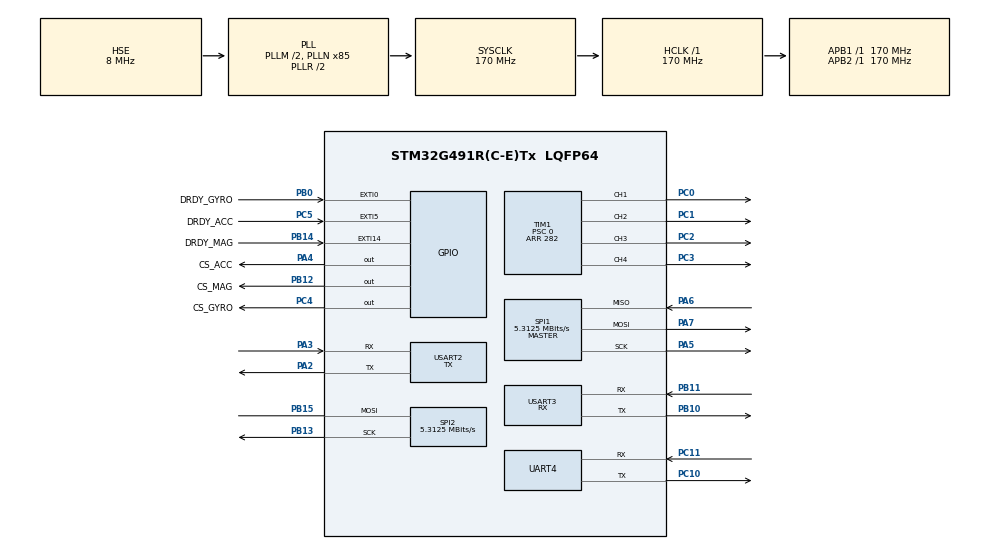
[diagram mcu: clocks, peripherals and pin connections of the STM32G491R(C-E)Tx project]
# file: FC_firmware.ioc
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Dma.Request0=TIM1_CH1
Dma.Request1=TIM1_CH2
Dma.Request2=TIM1_CH3
Dma.Request3=TIM1_CH4
Dma.Request4=SPI1_RX
Dma.Request5=SPI1_TX
Dma.Request6=USART2_TX
Dma.SPI1_RX.4.Direction=DMA_PERIPH_TO_MEMORY
Dma.SPI1_RX.4.EventEnable=DISABLE
Dma.SPI1_RX.4.Instance=DMA1_Channel5
Dma.SPI1_RX.4.MemDataAlignment=DMA_MDATAALIGN_BYTE
Dma.SPI1_RX.4.MemInc=DMA_MINC_ENABLE
Dma.SPI1_RX.4.Mode=DMA_NORMAL
Dma.SPI1_RX.4.PeriphDataAlignment=DMA_PDATAALIGN_BYTE
Dma.SPI1_RX.4.PeriphInc=DMA_PINC_DISABLE
Dma.SPI1_RX.4.Polarity=HAL_DMAMUX_REQ_GEN_RISING
Dma.SPI1_RX.4.Priority=DMA_PRIORITY_MEDIUM
Dma.SPI1_RX.4.RequestNumber=1
Dma.SPI1_RX.4.SignalID=NONE
Dma.SPI1_RX.4.SyncEnable=DISABLE
Dma.SPI1_RX.4.SyncPolarity=HAL_DMAMUX_SYNC_NO_EVENT
Dma.SPI1_RX.4.SyncRequestNumber=1
Dma.SPI1_RX.4.SyncSignalID=NONE
Dma.SPI1_TX.5.Direction=DMA_MEMORY_TO_PERIPH
Dma.SPI1_TX.5.EventEnable=DISABLE
Dma.SPI1_TX.5.Instance=DMA1_Channel6
Dma.SPI1_TX.5.MemDataAlignment=DMA_MDATAALIGN_BYTE
Dma.SPI1_TX.5.MemInc=DMA_MINC_ENABLE
Dma.SPI1_TX.5.Mode=DMA_NORMAL
Dma.SPI1_TX.5.PeriphDataAlignment=DMA_PDATAALIGN_BYTE
Dma.SPI1_TX.5.PeriphInc=DMA_PINC_DISABLE
Dma.SPI1_TX.5.Polarity=HAL_DMAMUX_REQ_GEN_RISING
Dma.SPI1_TX.5.Priority=DMA_PRIORITY_MEDIUM
Dma.SPI1_TX.5.RequestNumber=1
Dma.SPI1_TX.5.SignalID=NONE
Dma.SPI1_TX.5.SyncEnable=DISABLE
Dma.SPI1_TX.5.SyncPolarity=HAL_DMAMUX_SYNC_NO_EVENT
Dma.SPI1_TX.5.SyncRequestNumber=1
Dma.SPI1_TX.5.SyncSignalID=NONE
Dma.TIM1_CH1.0.Direction=DMA_MEMORY_TO_PERIPH
Dma.TIM1_CH1.0.EventEnable=DISABLE
Dma.TIM1_CH1.0.Instance=DMA1_Channel1
Dma.TIM1_CH1.0.MemDataAlignment=DMA_MDATAALIGN_HALFWORD
Dma.TIM1_CH1.0.MemInc=DMA_MINC_ENABLE
Dma.TIM1_CH1.0.Mode=DMA_CIRCULAR
Dma.TIM1_CH1.0.PeriphDataAlignment=DMA_PDATAALIGN_HALFWORD
Dma.TIM1_CH1.0.PeriphInc=DMA_PINC_DISABLE
Dma.TIM1_CH1.0.Polarity=HAL_DMAMUX_REQ_GEN_RISING
Dma.TIM1_CH1.0.Priority=DMA_PRIORITY_HIGH
Dma.TIM1_CH1.0.RequestNumber=1
Dma.TIM1_CH1.0.SignalID=NONE
Dma.TIM1_CH1.0.SyncEnable=DISABLE
Dma.TIM1_CH1.0.SyncPolarity=HAL_DMAMUX_SYNC_NO_EVENT
Dma.TIM1_CH1.0.SyncRequestNumber=1
Dma.TIM1_CH1.0.SyncSignalID=NONE
Dma.TIM1_CH2.1.Direction=DMA_MEMORY_TO_PERIPH
Dma.TIM1_CH2.1.EventEnable=DISABLE
Dma.TIM1_CH2.1.Instance=DMA1_Channel2
Dma.TIM1_CH2.1.MemDataAlignment=DMA_MDATAALIGN_HALFWORD
Dma.TIM1_CH2.1.MemInc=DMA_MINC_ENABLE
Dma.TIM1_CH2.1.Mode=DMA_CIRCULAR
Dma.TIM1_CH2.1.PeriphDataAlignment=DMA_PDATAALIGN_HALFWORD
Dma.TIM1_CH2.1.PeriphInc=DMA_PINC_DISABLE
Dma.TIM1_CH2.1.Polarity=HAL_DMAMUX_REQ_GEN_RISING
Dma.TIM1_CH2.1.Priority=DMA_PRIORITY_HIGH
Dma.TIM1_CH2.1.RequestNumber=1
Dma.TIM1_CH2.1.SignalID=NONE
Dma.TIM1_CH2.1.SyncEnable=DISABLE
Dma.TIM1_CH2.1.SyncPolarity=HAL_DMAMUX_SYNC_NO_EVENT
Dma.TIM1_CH2.1.SyncRequestNumber=1
Dma.TIM1_CH2.1.SyncSignalID=NONE
Dma.TIM1_CH3.2.Direction=DMA_MEMORY_TO_PERIPH
Dma.TIM1_CH3.2.EventEnable=DISABLE
Dma.TIM1_CH3.2.Instance=DMA1_Channel3
Dma.TIM1_CH3.2.MemDataAlignment=DMA_MDATAALIGN_HALFWORD
Dma.TIM1_CH3.2.MemInc=DMA_MINC_ENABLE
Dma.TIM1_CH3.2.Mode=DMA_CIRCULAR
Dma.TIM1_CH3.2.PeriphDataAlignment=DMA_PDATAALIGN_HALFWORD
Dma.TIM1_CH3.2.PeriphInc=DMA_PINC_DISABLE
Dma.TIM1_CH3.2.Polarity=HAL_DMAMUX_REQ_GEN_RISING
Dma.TIM1_CH3.2.Priority=DMA_PRIORITY_HIGH
Dma.TIM1_CH3.2.RequestNumber=1
Dma.TIM1_CH3.2.SignalID=NONE
Dma.TIM1_CH3.2.SyncEnable=DISABLE
Dma.TIM1_CH3.2.SyncPolarity=HAL_DMAMUX_SYNC_NO_EVENT
Dma.TIM1_CH3.2.SyncRequestNumber=1
Dma.TIM1_CH3.2.SyncSignalID=NONE
Dma.TIM1_CH4.3.Direction=DMA_MEMORY_TO_PERIPH
Dma.TIM1_CH4.3.EventEnable=DISABLE
Dma.TIM1_CH4.3.Instance=DMA1_Channel4
Dma.TIM1_CH4.3.MemDataAlignment=DMA_MDATAALIGN_HALFWORD
Dma.TIM1_CH4.3.MemInc=DMA_MINC_ENABLE
Dma.TIM1_CH4.3.Mode=DMA_CIRCULAR
Dma.TIM1_CH4.3.PeriphDataAlignment=DMA_PDATAALIGN_HALFWORD
Dma.TIM1_CH4.3.PeriphInc=DMA_PINC_DISABLE
Dma.TIM1_CH4.3.Polarity=HAL_DMAMUX_REQ_GEN_RISING
Dma.TIM1_CH4.3.Priority=DMA_PRIORITY_HIGH
Dma.TIM1_CH4.3.RequestNumber=1
Dma.TIM1_CH4.3.SignalID=NONE
Dma.TIM1_CH4.3.SyncEnable=DISABLE
Dma.TIM1_CH4.3.SyncPolarity=HAL_DMAMUX_SYNC_NO_EVENT
Dma.TIM1_CH4.3.SyncRequestNumber=1
Dma.TIM1_CH4.3.SyncSignalID=NONE
Dma.USART2_TX.6.Direction=DMA_MEMORY_TO_PERIPH
Dma.USART2_TX.6.EventEnable=DISABLE
Dma.USART2_TX.6.Instance=DMA1_Channel7
Dma.USART2_TX.6.MemDataAlignment=DMA_MDATAALIGN_BYTE
Dma.USART2_TX.6.MemInc=DMA_MINC_ENABLE
Dma.USART2_TX.6.Mode=DMA_NORMAL
Dma.USART2_TX.6.PeriphDataAlignment=DMA_PDATAALIGN_BYTE
Dma.USART2_TX.6.PeriphInc=DMA_PINC_DISABLE
Dma.USART2_TX.6.Polarity=HAL_DMAMUX_REQ_GEN_RISING
Dma.USART2_TX.6.Priority=DMA_PRIORITY_LOW
Dma.USART2_TX.6.RequestNumber=1
Dma.USART2_TX.6.SignalID=NONE
Dma.USART2_TX.6.SyncEnable=DISABLE
Dma.USART2_TX.6.SyncPolarity=HAL_DMAMUX_SYNC_NO_EVENT
Dma.USART2_TX.6.SyncRequestNumber=1
Dma.USART2_TX.6.SyncSignalID=NONE
FREERTOS.INCLUDE_vTaskDelayUntil=1
FREERTOS.INCLUDE_xTimerPendFunctionCall=0
FREERTOS.Tasks01=initTask,2,256,StartInitTask,Default,NULL,Dynamic,NULL,NULL
FREERTOS.configENABLE_FPU=1
FREERTOS.configMAX_TASK_NAME_LEN=32
FREERTOS.configTIMER_TASK_PRIORITY=6
FREERTOS.configTOTAL_HEAP_SIZE=51200
FREERTOS.configUSE_COUNTING_SEMAPHORES=1
FREERTOS.configUSE_NEWLIB_REENTRANT=1
FREERTOS.configUSE_TIMERS=0
IWDG.Reload=3999
IWDG.Window=3999
Mcu.Family=STM32G4
Mcu.Name=STM32G491R(C-E)Tx
Mcu.Package=LQFP64
NVIC.DMA1_Channel1_IRQn=true\:5\:0\:false\:false\:true\:true\:false\:true\:true
NVIC.DMA1_Channel2_IRQn=true\:5\:0\:false\:false\:true\:true\:false\:true\:true
NVIC.DMA1_Channel3_IRQn=true\:5\:0\:false\:false\:true\:true\:false\:true\:true
NVIC.DMA1_Channel4_IRQn=true\:5\:0\:false\:false\:true\:true\:false\:true\:true
NVIC.DMA1_Channel5_IRQn=true\:5\:0\:true\:false\:true\:true\:false\:true\:true
NVIC.DMA1_Channel6_IRQn=true\:5\:0\:true\:false\:true\:true\:false\:true\:true
NVIC.DMA1_Channel7_IRQn=true\:5\:0\:false\:false\:true\:true\:false\:true\:true
NVIC.EXTI0_IRQn=true\:5\:0\:true\:false\:true\:true\:true\:true\:true
NVIC.EXTI15_10_IRQn=true\:5\:0\:false\:false\:true\:true\:true\:true\:true
NVIC.EXTI9_5_IRQn=true\:5\:0\:true\:false\:true\:true\:true\:true\:true
NVIC.PriorityGroup=NVIC_PRIORITYGROUP_4
NVIC.SPI2_IRQn=true\:5\:0\:false\:false\:true\:true\:true\:true\:true
NVIC.TIM6_DAC_IRQn=true\:15\:0\:false\:false\:true\:false\:false\:true\:true
NVIC.TimeBase=TIM6_DAC_IRQn
NVIC.TimeBaseIP=TIM6
NVIC.USART2_IRQn=true\:5\:0\:false\:false\:true\:true\:true\:true\:true
NVIC.USART3_IRQn=true\:5\:0\:true\:false\:true\:true\:true\:true\:true
PA13.Mode=Serial_Wire
PA13.Signal=SYS_JTMS-SWDIO
PA14.Mode=Serial_Wire
PA14.Signal=SYS_JTCK-SWCLK
PA2.Mode=Asynchronous
PA2.Signal=USART2_TX
PA3.Mode=Asynchronous
PA3.Signal=USART2_RX
PA4.GPIO_Label=CS_ACC
PA4.GPIO_Speed=GPIO_SPEED_FREQ_HIGH
PA4.PinState=GPIO_PIN_SET
PA4.Signal=GPIO_Output
PA5.Mode=Full_Duplex_Master
PA5.Signal=SPI1_SCK
PA6.Mode=Full_Duplex_Master
PA6.Signal=SPI1_MISO
PA7.Mode=Full_Duplex_Master
PA7.Signal=SPI1_MOSI
PB0.GPIO_Label=DRDY_GYRO
PB0.Signal=GPXTI0
PB10.Mode=Asynchronous
PB10.Signal=USART3_TX
PB11.Mode=Asynchronous
PB11.Signal=USART3_RX
PB12.GPIO_Label=CS_MAG
PB12.GPIO_Speed=GPIO_SPEED_FREQ_HIGH
PB12.PinState=GPIO_PIN_SET
PB12.Signal=GPIO_Output
PB13.Mode=Simplex_Bidirectional_Master
PB13.Signal=SPI2_SCK
PB14.GPIO_Label=DRDY_MAG
PB14.Signal=GPXTI14
PB15.Mode=Simplex_Bidirectional_Master
PB15.Signal=SPI2_MOSI
PC0.Signal=S_TIM1_CH1
PC1.Signal=S_TIM1_CH2
PC10.Mode=Asynchronous
PC10.Signal=UART4_TX
PC11.Mode=Asynchronous
PC11.Signal=UART4_RX
PC2.Signal=S_TIM1_CH3
PC3.Signal=S_TIM1_CH4
PC4.GPIO_Label=CS_GYRO
PC4.GPIO_Speed=GPIO_SPEED_FREQ_HIGH
PC4.PinState=GPIO_PIN_SET
PC4.Signal=GPIO_Output
PC5.GPIO_Label=DRDY_ACC
PC5.Signal=GPXTI5
PF0-OSC_IN.Mode=HSE-External-Oscillator
PF0-OSC_IN.Signal=RCC_OSC_IN
PF1-OSC_OUT.Mode=HSE-External-Oscillator
PF1-OSC_OUT.Signal=RCC_OSC_OUT
ProjectManager.HeapSize=0x200
ProjectManager.StackSize=0x400
ProjectManager.TargetToolchain=STM32CubeIDE
RCC.ADC12Freq_Value=170000000
RCC.ADC345Freq_Value=170000000
RCC.AHBFreq_Value=170000000
RCC.APB1Freq_Value=170000000
RCC.APB1TimFreq_Value=170000000
RCC.APB2Freq_Value=170000000
RCC.APB2TimFreq_Value=170000000
RCC.CortexFreq_Value=170000000
RCC.EXTERNAL_CLOCK_VALUE=12288000
RCC.HCLKFreq_Value=170000000
RCC.HSE_VALUE=8000000
RCC.HSI48_VALUE=48000000
RCC.HSI_VALUE=16000000
RCC.LSE_VALUE=32768
RCC.PLLM=RCC_PLLM_DIV2
RCC.PLLN=85
RCC.PLLSourceVirtual=RCC_PLLSOURCE_HSE
RCC.SYSCLKFreq_VALUE=170000000
RCC.SYSCLKSource=RCC_SYSCLKSOURCE_PLLCLK
RCC.USBFreq_Value=48000000
RCC.VCOOutputFreq_Value=340000000
SH.S_TIM1_CH1.0=TIM1_CH1,PWM Generation1 CH1
SH.S_TIM1_CH2.0=TIM1_CH2,PWM Generation2 CH2
SH.S_TIM1_CH3.0=TIM1_CH3,PWM Generation3 CH3
SH.S_TIM1_CH4.0=TIM1_CH4,PWM Generation4 CH4
SPI1.BaudRatePrescaler=SPI_BAUDRATEPRESCALER_32
SPI1.CalculateBaudRate=5.3125 MBits/s
SPI1.Direction=SPI_DIRECTION_2LINES
SPI1.Mode=SPI_MODE_MASTER
SPI1.NSSPMode=SPI_NSS_PULSE_DISABLE
SPI1.VirtualType=VM_MASTER
SPI2.BaudRatePrescaler=SPI_BAUDRATEPRESCALER_32
SPI2.CLKPhase=SPI_PHASE_2EDGE
SPI2.CLKPolarity=SPI_POLARITY_HIGH
SPI2.CalculateBaudRate=5.3125 MBits/s
SPI2.Direction=SPI_DIRECTION_1LINE
SPI2.Mode=SPI_MODE_MASTER
SPI2.VirtualType=VM_MASTER
TIM1.AutoReloadPreload=TIM_AUTORELOAD_PRELOAD_ENABLE
TIM1.Channel-PWM\ Generation1\ CH1=TIM_CHANNEL_1
TIM1.Channel-PWM\ Generation2\ CH2=TIM_CHANNEL_2
TIM1.Channel-PWM\ Generation3\ CH3=TIM_CHANNEL_3
TIM1.Channel-PWM\ Generation4\ CH4=TIM_CHANNEL_4
TIM1.PeriodNoDither=282
TIM1.Prescaler=0
TIM2.Prescaler=169
USART2.Mode=MODE_TX
USART2.StopBits=STOPBITS_1
USART2.VirtualMode-Asynchronous=VM_ASYNC
USART3.Mode=MODE_RX
USART3.VirtualMode-Asynchronous=VM_ASYNC
VP_FREERTOS_VS_CMSIS_V1.Mode=CMSIS_V1
VP_IWDG_VS_IWDG.Mode=IWDG_Activate
VP_SYS_VS_DBSignals.Mode=DisableDeadBatterySignals
VP_SYS_VS_tim6.Mode=TIM6
VP_TIM1_VS_ClockSourceINT.Mode=Internal
VP_TIM2_VS_ClockSourceINT.Mode=Internal
board=custom

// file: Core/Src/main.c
/* USER CODE BEGIN Header */
/**
  ******************************************************************************
  * @file           : main.c
  * @brief          : Main program body
  ******************************************************************************
  * @attention
  *
  * Copyright (c) 2022 STMicroelectronics.
  * All rights reserved.
  *
  * This software is licensed under terms that can be found in the LICENSE file
  * in the root directory of this software component.
  * If no LICENSE file comes with this software, it is provided AS-IS.
  *
  ******************************************************************************
  */
/* USER CODE END Header */
#include "main.h"
#include "cmsis_os.h"

/* USER CODE BEGIN Includes */
#include "bsp.h"
/* USER CODE END Includes */

 IWDG_HandleTypeDef hiwdg;

SPI_HandleTypeDef hspi1;
SPI_HandleTypeDef hspi2;
DMA_HandleTypeDef hdma_spi1_rx;
DMA_HandleTypeDef hdma_spi1_tx;

TIM_HandleTypeDef htim1;
TIM_HandleTypeDef htim2;
DMA_HandleTypeDef hdma_tim1_ch1;
DMA_HandleTypeDef hdma_tim1_ch2;
DMA_HandleTypeDef hdma_tim1_ch3;
DMA_HandleTypeDef hdma_tim1_ch4;

UART_HandleTypeDef huart4;
UART_HandleTypeDef huart2;
UART_HandleTypeDef huart3;
DMA_HandleTypeDef hdma_usart2_tx;

osThreadId initTaskHandle;

void SystemClock_Config(void);
static void MX_GPIO_Init(void);
static void MX_DMA_Init(void);
static void MX_UART4_Init(void);
static void MX_TIM1_Init(void);
static void MX_USART3_UART_Init(void);
static void MX_SPI1_Init(void);
static void MX_TIM2_Init(void);
static void MX_SPI2_Init(void);
static void MX_USART2_UART_Init(void);
static void MX_IWDG_Init(void);
void StartInitTask(void const * argument);

/* USER CODE BEGIN PFP */
void mainDisableInterrupts();
/* USER CODE END PFP */

int main(void)
{

  /* MCU Configuration--------------------------------------------------------*/

  /* Reset of all peripherals, Initializes the Flash interface and the Systick. */
  HAL_Init();

  /* Configure the system clock */
  SystemClock_Config();

  /* Initialize all configured peripherals */
  MX_GPIO_Init();
  MX_DMA_Init();
  MX_UART4_Init();
  MX_TIM1_Init();
  MX_USART3_UART_Init();
  MX_SPI1_Init();
  MX_TIM2_Init();
  MX_SPI2_Init();
  MX_USART2_UART_Init();
  MX_IWDG_Init();

  /* Create the thread(s) */
  /* definition and creation of initTask */
  osThreadDef(initTask, StartInitTask, osPriorityHigh, 0, 256);
  initTaskHandle = osThreadCreate(osThread(initTask), NULL);

  /* Start scheduler */
  osKernelStart();

  /* We should never get here as control is now taken by the scheduler */
  /* Infinite loop */
  while (1)
  {

  }
}

void SystemClock_Config(void)
{
  RCC_OscInitTypeDef RCC_OscInitStruct = {0};
  RCC_ClkInitTypeDef RCC_ClkInitStruct = {0};

  /** Configure the main internal regulator output voltage
  */
  HAL_PWREx_ControlVoltageScaling(PWR_REGULATOR_VOLTAGE_SCALE1_BOOST);

  /** Initializes the RCC Oscillators according to the specified parameters
  * in the RCC_OscInitTypeDef structure.
  */
  RCC_OscInitStruct.OscillatorType = RCC_OSCILLATORTYPE_LSI|RCC_OSCILLATORTYPE_HSE;
  RCC_OscInitStruct.HSEState = RCC_HSE_ON;
  RCC_OscInitStruct.LSIState = RCC_LSI_ON;
  RCC_OscInitStruct.PLL.PLLState = RCC_PLL_ON;
  RCC_OscInitStruct.PLL.PLLSource = RCC_PLLSOURCE_HSE;
  RCC_OscInitStruct.PLL.PLLM = RCC_PLLM_DIV2;
  RCC_OscInitStruct.PLL.PLLN = 85;
  RCC_OscInitStruct.PLL.PLLP = RCC_PLLP_DIV2;
  RCC_OscInitStruct.PLL.PLLQ = RCC_PLLQ_DIV2;
  RCC_OscInitStruct.PLL.PLLR = RCC_PLLR_DIV2;
  if (HAL_RCC_OscConfig(&RCC_OscInitStruct) != HAL_OK)
  {
    Error_Handler();
  }

  /** Initializes the CPU, AHB and APB buses clocks
  */
  RCC_ClkInitStruct.ClockType = RCC_CLOCKTYPE_HCLK|RCC_CLOCKTYPE_SYSCLK
                              |RCC_CLOCKTYPE_PCLK1|RCC_CLOCKTYPE_PCLK2;
  RCC_ClkInitStruct.SYSCLKSource = RCC_SYSCLKSOURCE_PLLCLK;
  RCC_ClkInitStruct.AHBCLKDivider = RCC_SYSCLK_DIV1;
  RCC_ClkInitStruct.APB1CLKDivider = RCC_HCLK_DIV1;
  RCC_ClkInitStruct.APB2CLKDivider = RCC_HCLK_DIV1;

  if (HAL_RCC_ClockConfig(&RCC_ClkInitStruct, FLASH_LATENCY_4) != HAL_OK)
  {
    Error_Handler();
  }
}

static void MX_IWDG_Init(void)
{

  hiwdg.Instance = IWDG;
  hiwdg.Init.Prescaler = IWDG_PRESCALER_4;
  hiwdg.Init.Window = 3999;
  hiwdg.Init.Reload = 3999;
  if (HAL_IWDG_Init(&hiwdg) != HAL_OK)
  {
    Error_Handler();
  }

}

static void MX_SPI1_Init(void)
{

  /* SPI1 parameter configuration*/
  hspi1.Instance = SPI1;
  hspi1.Init.Mode = SPI_MODE_MASTER;
  hspi1.Init.Direction = SPI_DIRECTION_2LINES;
  hspi1.Init.DataSize = SPI_DATASIZE_8BIT;
  hspi1.Init.CLKPolarity = SPI_POLARITY_LOW;
  hspi1.Init.CLKPhase = SPI_PHASE_1EDGE;
  hspi1.Init.NSS = SPI_NSS_SOFT;
  hspi1.Init.BaudRatePrescaler = SPI_BAUDRATEPRESCALER_32;
  hspi1.Init.FirstBit = SPI_FIRSTBIT_MSB;
  hspi1.Init.TIMode = SPI_TIMODE_DISABLE;
  hspi1.Init.CRCCalculation = SPI_CRCCALCULATION_DISABLE;
  hspi1.Init.CRCPolynomial = 7;
  hspi1.Init.CRCLength = SPI_CRC_LENGTH_DATASIZE;
  hspi1.Init.NSSPMode = SPI_NSS_PULSE_DISABLE;
  if (HAL_SPI_Init(&hspi1) != HAL_OK)
  {
    Error_Handler();
  }

}

static void MX_SPI2_Init(void)
{

  /* SPI2 parameter configuration*/
  hspi2.Instance = SPI2;
  hspi2.Init.Mode = SPI_MODE_MASTER;
  hspi2.Init.Direction = SPI_DIRECTION_1LINE;
  hspi2.Init.DataSize = SPI_DATASIZE_8BIT;
  hspi2.Init.CLKPolarity = SPI_POLARITY_HIGH;
  hspi2.Init.CLKPhase = SPI_PHASE_2EDGE;
  hspi2.Init.NSS = SPI_NSS_SOFT;
  hspi2.Init.BaudRatePrescaler = SPI_BAUDRATEPRESCALER_32;
  hspi2.Init.FirstBit = SPI_FIRSTBIT_MSB;
  hspi2.Init.TIMode = SPI_TIMODE_DISABLE;
  hspi2.Init.CRCCalculation = SPI_CRCCALCULATION_DISABLE;
  hspi2.Init.CRCPolynomial = 7;
  hspi2.Init.CRCLength = SPI_CRC_LENGTH_DATASIZE;
  hspi2.Init.NSSPMode = SPI_NSS_PULSE_DISABLE;
  if (HAL_SPI_Init(&hspi2) != HAL_OK)
  {
    Error_Handler();
  }

}

static void MX_TIM1_Init(void)
{

  TIM_ClockConfigTypeDef sClockSourceConfig = {0};
  TIM_MasterConfigTypeDef sMasterConfig = {0};
  TIM_OC_InitTypeDef sConfigOC = {0};
  TIM_BreakDeadTimeConfigTypeDef sBreakDeadTimeConfig = {0};

  htim1.Instance = TIM1;
  htim1.Init.Prescaler = 0;
  htim1.Init.CounterMode = TIM_COUNTERMODE_UP;
  htim1.Init.Period = 282;
  htim1.Init.ClockDivision = TIM_CLOCKDIVISION_DIV1;
  htim1.Init.RepetitionCounter = 0;
  htim1.Init.AutoReloadPreload = TIM_AUTORELOAD_PRELOAD_ENABLE;
  if (HAL_TIM_Base_Init(&htim1) != HAL_OK)
  {
    Error_Handler();
  }
  sClockSourceConfig.ClockSource = TIM_CLOCKSOURCE_INTERNAL;
  if (HAL_TIM_ConfigClockSource(&htim1, &sClockSourceConfig) != HAL_OK)
  {
    Error_Handler();
  }
  if (HAL_TIM_PWM_Init(&htim1) != HAL_OK)
  {
    Error_Handler();
  }
  sMasterConfig.MasterOutputTrigger = TIM_TRGO_RESET;
  sMasterConfig.MasterOutputTrigger2 = TIM_TRGO2_RESET;
  sMasterConfig.MasterSlaveMode = TIM_MASTERSLAVEMODE_DISABLE;
  if (HAL_TIMEx_MasterConfigSynchronization(&htim1, &sMasterConfig) != HAL_OK)
  {
    Error_Handler();
  }
  sConfigOC.OCMode = TIM_OCMODE_PWM1;
  sConfigOC.Pulse = 0;
  sConfigOC.OCPolarity = TIM_OCPOLARITY_HIGH;
  sConfigOC.OCNPolarity = TIM_OCNPOLARITY_HIGH;
  sConfigOC.OCFastMode = TIM_OCFAST_DISABLE;
  sConfigOC.OCIdleState = TIM_OCIDLESTATE_RESET;
  sConfigOC.OCNIdleState = TIM_OCNIDLESTATE_RESET;
  if (HAL_TIM_PWM_ConfigChannel(&htim1, &sConfigOC, TIM_CHANNEL_1) != HAL_OK)
  {
    Error_Handler();
  }
  if (HAL_TIM_PWM_ConfigChannel(&htim1, &sConfigOC, TIM_CHANNEL_2) != HAL_OK)
  {
    Error_Handler();
  }
  if (HAL_TIM_PWM_ConfigChannel(&htim1, &sConfigOC, TIM_CHANNEL_3) != HAL_OK)
  {
    Error_Handler();
  }
  if (HAL_TIM_PWM_ConfigChannel(&htim1, &sConfigOC, TIM_CHANNEL_4) != HAL_OK)
  {
    Error_Handler();
  }
  sBreakDeadTimeConfig.OffStateRunMode = TIM_OSSR_DISABLE;
  sBreakDeadTimeConfig.OffStateIDLEMode = TIM_OSSI_DISABLE;
  sBreakDeadTimeConfig.LockLevel = TIM_LOCKLEVEL_OFF;
  sBreakDeadTimeConfig.DeadTime = 0;
  sBreakDeadTimeConfig.BreakState = TIM_BREAK_DISABLE;
  sBreakDeadTimeConfig.BreakPolarity = TIM_BREAKPOLARITY_HIGH;
  sBreakDeadTimeConfig.BreakFilter = 0;
  sBreakDeadTimeConfig.BreakAFMode = TIM_BREAK_AFMODE_INPUT;
  sBreakDeadTimeConfig.Break2State = TIM_BREAK2_DISABLE;
  sBreakDeadTimeConfig.Break2Polarity = TIM_BREAK2POLARITY_HIGH;
  sBreakDeadTimeConfig.Break2Filter = 0;
  sBreakDeadTimeConfig.Break2AFMode = TIM_BREAK_AFMODE_INPUT;
  sBreakDeadTimeConfig.AutomaticOutput = TIM_AUTOMATICOUTPUT_DISABLE;
  if (HAL_TIMEx_ConfigBreakDeadTime(&htim1, &sBreakDeadTimeConfig) != HAL_OK)
  {
    Error_Handler();
  }
  HAL_TIM_MspPostInit(&htim1);

}

static void MX_TIM2_Init(void)
{

  TIM_ClockConfigTypeDef sClockSourceConfig = {0};
  TIM_MasterConfigTypeDef sMasterConfig = {0};

  htim2.Instance = TIM2;
  htim2.Init.Prescaler = 169;
  htim2.Init.CounterMode = TIM_COUNTERMODE_UP;
  htim2.Init.Period = 4.294967295E9;
  htim2.Init.ClockDivision = TIM_CLOCKDIVISION_DIV1;
  htim2.Init.AutoReloadPreload = TIM_AUTORELOAD_PRELOAD_DISABLE;
  if (HAL_TIM_Base_Init(&htim2) != HAL_OK)
  {
    Error_Handler();
  }
  sClockSourceConfig.ClockSource = TIM_CLOCKSOURCE_INTERNAL;
  if (HAL_TIM_ConfigClockSource(&htim2, &sClockSourceConfig) != HAL_OK)
  {
    Error_Handler();
  }
  sMasterConfig.MasterOutputTrigger = TIM_TRGO_RESET;
  sMasterConfig.MasterSlaveMode = TIM_MASTERSLAVEMODE_DISABLE;
  if (HAL_TIMEx_MasterConfigSynchronization(&htim2, &sMasterConfig) != HAL_OK)
  {
    Error_Handler();
  }

}

static void MX_UART4_Init(void)
{

  huart4.Instance = UART4;
  huart4.Init.BaudRate = 115200;
  huart4.Init.WordLength = UART_WORDLENGTH_8B;
  huart4.Init.StopBits = UART_STOPBITS_1;
  huart4.Init.Parity = UART_PARITY_NONE;
  huart4.Init.Mode = UART_MODE_TX_RX;
  huart4.Init.HwFlowCtl = UART_HWCONTROL_NONE;
  huart4.Init.OverSampling = UART_OVERSAMPLING_16;
  huart4.Init.OneBitSampling = UART_ONE_BIT_SAMPLE_DISABLE;
  huart4.Init.ClockPrescaler = UART_PRESCALER_DIV1;
  huart4.AdvancedInit.AdvFeatureInit = UART_ADVFEATURE_NO_INIT;
  if (HAL_UART_Init(&huart4) != HAL_OK)
  {
    Error_Handler();
  }
  if (HAL_UARTEx_SetTxFifoThreshold(&huart4, UART_TXFIFO_THRESHOLD_1_8) != HAL_OK)
  {
    Error_Handler();
  }
  if (HAL_UARTEx_SetRxFifoThreshold(&huart4, UART_RXFIFO_THRESHOLD_1_8) != HAL_OK)
  {
    Error_Handler();
  }
  if (HAL_UARTEx_DisableFifoMode(&huart4) != HAL_OK)
  {
    Error_Handler();
  }

}

static void MX_USART2_UART_Init(void)
{

  huart2.Instance = USART2;
  huart2.Init.BaudRate = 115200;
  huart2.Init.WordLength = UART_WORDLENGTH_8B;
  huart2.Init.StopBits = UART_STOPBITS_1;
  huart2.Init.Parity = UART_PARITY_NONE;
  huart2.Init.Mode = UART_MODE_TX;
  huart2.Init.HwFlowCtl = UART_HWCONTROL_NONE;
  huart2.Init.OverSampling = UART_OVERSAMPLING_16;
  huart2.Init.OneBitSampling = UART_ONE_BIT_SAMPLE_DISABLE;
  huart2.Init.ClockPrescaler = UART_PRESCALER_DIV1;
  huart2.AdvancedInit.AdvFeatureInit = UART_ADVFEATURE_NO_INIT;
  if (HAL_UART_Init(&huart2) != HAL_OK)
  {
    Error_Handler();
  }
  if (HAL_UARTEx_SetTxFifoThreshold(&huart2, UART_TXFIFO_THRESHOLD_1_8) != HAL_OK)
  {
    Error_Handler();
  }
  if (HAL_UARTEx_SetRxFifoThreshold(&huart2, UART_RXFIFO_THRESHOLD_1_8) != HAL_OK)
  {
    Error_Handler();
  }
  if (HAL_UARTEx_DisableFifoMode(&huart2) != HAL_OK)
  {
    Error_Handler();
  }

}

static void MX_USART3_UART_Init(void)
{

  huart3.Instance = USART3;
  huart3.Init.BaudRate = 115200;
  huart3.Init.WordLength = UART_WORDLENGTH_8B;
  huart3.Init.StopBits = UART_STOPBITS_1;
  huart3.Init.Parity = UART_PARITY_NONE;
  huart3.Init.Mode = UART_MODE_RX;
  huart3.Init.HwFlowCtl = UART_HWCONTROL_NONE;
  huart3.Init.OverSampling = UART_OVERSAMPLING_16;
  huart3.Init.OneBitSampling = UART_ONE_BIT_SAMPLE_DISABLE;
  huart3.Init.ClockPrescaler = UART_PRESCALER_DIV1;
  huart3.AdvancedInit.AdvFeatureInit = UART_ADVFEATURE_NO_INIT;
  if (HAL_UART_Init(&huart3) != HAL_OK)
  {
    Error_Handler();
  }
  if (HAL_UARTEx_SetTxFifoThreshold(&huart3, UART_TXFIFO_THRESHOLD_1_8) != HAL_OK)
  {
    Error_Handler();
  }
  if (HAL_UARTEx_SetRxFifoThreshold(&huart3, UART_RXFIFO_THRESHOLD_1_8) != HAL_OK)
  {
    Error_Handler();
  }
  if (HAL_UARTEx_DisableFifoMode(&huart3) != HAL_OK)
  {
    Error_Handler();
  }

}

static void MX_DMA_Init(void)
{

  /* DMA controller clock enable */
  __HAL_RCC_DMAMUX1_CLK_ENABLE();
  __HAL_RCC_DMA1_CLK_ENABLE();

  /* DMA interrupt init */
  /* DMA1_Channel1_IRQn interrupt configuration */
  HAL_NVIC_SetPriority(DMA1_Channel1_IRQn, 5, 0);
  HAL_NVIC_EnableIRQ(DMA1_Channel1_IRQn);
  /* DMA1_Channel2_IRQn interrupt configuration */
  HAL_NVIC_SetPriority(DMA1_Channel2_IRQn, 5, 0);
  HAL_NVIC_EnableIRQ(DMA1_Channel2_IRQn);
  /* DMA1_Channel3_IRQn interrupt configuration */
  HAL_NVIC_SetPriority(DMA1_Channel3_IRQn, 5, 0);
  HAL_NVIC_EnableIRQ(DMA1_Channel3_IRQn);
  /* DMA1_Channel4_IRQn interrupt configuration */
  HAL_NVIC_SetPriority(DMA1_Channel4_IRQn, 5, 0);
  HAL_NVIC_EnableIRQ(DMA1_Channel4_IRQn);
  /* DMA1_Channel5_IRQn interrupt configuration */
  HAL_NVIC_SetPriority(DMA1_Channel5_IRQn, 5, 0);
  HAL_NVIC_EnableIRQ(DMA1_Channel5_IRQn);
  /* DMA1_Channel6_IRQn interrupt configuration */
  HAL_NVIC_SetPriority(DMA1_Channel6_IRQn, 5, 0);
  HAL_NVIC_EnableIRQ(DMA1_Channel6_IRQn);
  /* DMA1_Channel7_IRQn interrupt configuration */
  HAL_NVIC_SetPriority(DMA1_Channel7_IRQn, 5, 0);
  HAL_NVIC_EnableIRQ(DMA1_Channel7_IRQn);

}

static void MX_GPIO_Init(void)
{
  GPIO_InitTypeDef GPIO_InitStruct = {0};

  /* GPIO Ports Clock Enable */
  __HAL_RCC_GPIOF_CLK_ENABLE();
  __HAL_RCC_GPIOC_CLK_ENABLE();
  __HAL_RCC_GPIOA_CLK_ENABLE();
  __HAL_RCC_GPIOB_CLK_ENABLE();

  /*Configure GPIO pin Output Level */
  HAL_GPIO_WritePin(CS_ACC_GPIO_Port, CS_ACC_Pin, GPIO_PIN_SET);

  /*Configure GPIO pin Output Level */
  HAL_GPIO_WritePin(CS_GYRO_GPIO_Port, CS_GYRO_Pin, GPIO_PIN_SET);

  /*Configure GPIO pin Output Level */
  HAL_GPIO_WritePin(CS_MAG_GPIO_Port, CS_MAG_Pin, GPIO_PIN_SET);

  /*Configure GPIO pin : CS_ACC_Pin */
  GPIO_InitStruct.Pin = CS_ACC_Pin;
  GPIO_InitStruct.Mode = GPIO_MODE_OUTPUT_PP;
  GPIO_InitStruct.Pull = GPIO_NOPULL;
  GPIO_InitStruct.Speed = GPIO_SPEED_FREQ_HIGH;
  HAL_GPIO_Init(CS_ACC_GPIO_Port, &GPIO_InitStruct);

  /*Configure GPIO pin : CS_GYRO_Pin */
  GPIO_InitStruct.Pin = CS_GYRO_Pin;
  GPIO_InitStruct.Mode = GPIO_MODE_OUTPUT_PP;
  GPIO_InitStruct.Pull = GPIO_NOPULL;
  GPIO_InitStruct.Speed = GPIO_SPEED_FREQ_HIGH;
  HAL_GPIO_Init(CS_GYRO_GPIO_Port, &GPIO_InitStruct);

  /*Configure GPIO pin : DRDY_ACC_Pin */
  GPIO_InitStruct.Pin = DRDY_ACC_Pin;
  GPIO_InitStruct.Mode = GPIO_MODE_IT_RISING;
  GPIO_InitStruct.Pull = GPIO_NOPULL;
  HAL_GPIO_Init(DRDY_ACC_GPIO_Port, &GPIO_InitStruct);

  /*Configure GPIO pins : DRDY_GYRO_Pin DRDY_MAG_Pin */
  GPIO_InitStruct.Pin = DRDY_GYRO_Pin|DRDY_MAG_Pin;
  GPIO_InitStruct.Mode = GPIO_MODE_IT_RISING;
  GPIO_InitStruct.Pull = GPIO_NOPULL;
  HAL_GPIO_Init(GPIOB, &GPIO_InitStruct);

  /*Configure GPIO pin : CS_MAG_Pin */
  GPIO_InitStruct.Pin = CS_MAG_Pin;
  GPIO_InitStruct.Mode = GPIO_MODE_OUTPUT_PP;
  GPIO_InitStruct.Pull = GPIO_NOPULL;
  GPIO_InitStruct.Speed = GPIO_SPEED_FREQ_HIGH;
  HAL_GPIO_Init(CS_MAG_GPIO_Port, &GPIO_InitStruct);

  /* EXTI interrupt init*/
  HAL_NVIC_SetPriority(EXTI0_IRQn, 5, 0);
  HAL_NVIC_EnableIRQ(EXTI0_IRQn);

  HAL_NVIC_SetPriority(EXTI9_5_IRQn, 5, 0);
  HAL_NVIC_EnableIRQ(EXTI9_5_IRQn);

  HAL_NVIC_SetPriority(EXTI15_10_IRQn, 5, 0);
  HAL_NVIC_EnableIRQ(EXTI15_10_IRQn);

}

/* USER CODE BEGIN 4 */
void HAL_GPIO_EXTI_Callback(uint16_t GPIO_Pin)
{
	imuGpioExtiCallback(GPIO_Pin);
	magGpioExtiCallback(GPIO_Pin);
}

void HAL_UART_RxCpltCallback(UART_HandleTypeDef *huart)
{
	radioUartRxCpltCallback(huart);
}

void HAL_SPI_TxRxCpltCallback(SPI_HandleTypeDef *hspi)
{
	imuSpiTxRxCpltCallback(hspi);
}

void HAL_SPI_TxCpltCallback(SPI_HandleTypeDef *hspi)
{
	magSpiTxCpltCallback(hspi);
}

void HAL_SPI_RxCpltCallback(SPI_HandleTypeDef *hspi)
{
	magSpiRxCpltCallback(hspi);
}

void HAL_UART_TxCpltCallback(UART_HandleTypeDef *huart)
{
	wifiUartTxCpltCallback(huart);
}

void mainDisableInterrupts()
{
	HAL_NVIC_DisableIRQ(DRDY_MAG_EXTI_IRQn);
	HAL_NVIC_DisableIRQ(DRDY_ACC_EXTI_IRQn);
	HAL_NVIC_DisableIRQ(DRDY_GYRO_EXTI_IRQn);
}
/* USER CODE END 4 */

void StartInitTask(void const * argument)
{
  /* USER CODE BEGIN 5 */
	mainDisableInterrupts();
	wifiInit();
	escInit();
	radioInit();
	IMU_StatusType imuInitRetVal = imuInit();
	MAG_StatusType magInitRetVal = magInit();
	stateInit(imuInitRetVal, magInitRetVal);
	vTaskDelete(NULL);
  /* USER CODE END 5 */
}

void HAL_TIM_PeriodElapsedCallback(TIM_HandleTypeDef *htim)
{
  if (htim->Instance == TIM6) {
    HAL_IncTick();
  }
}

void Error_Handler(void)
{
  __disable_irq();
  while (1)
  {
  }
}
